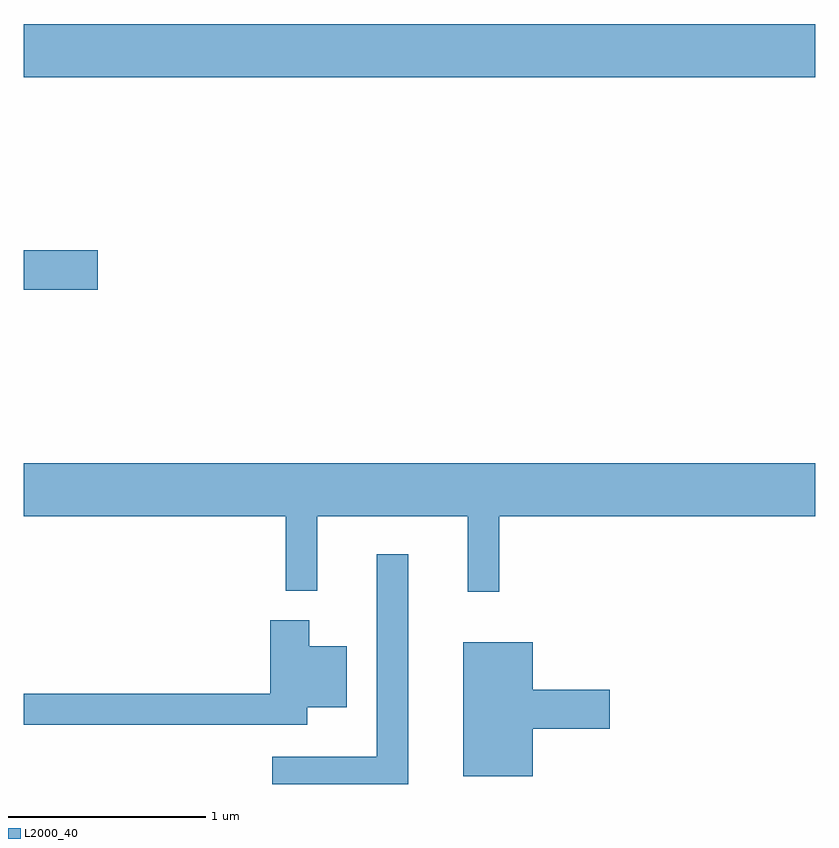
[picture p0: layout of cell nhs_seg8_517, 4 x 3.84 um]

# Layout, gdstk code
import gdstk
lib = gdstk.Library(unit=1e-6, precision=1e-09)
def R(c, l, rs):  # rectangles x0, y0, x1, y1
    for r in rs: c.add(gdstk.rectangle(r[:2], r[2:], *l))
def P(c, l, *ps):  # polygons
    for p in ps: c.add(gdstk.Polygon(p, *l))
L2000_40 = (2000, 40)

nhs_seg8_517 = lib.new_cell('nhs_seg8_517')
R(nhs_seg8_517, L2000_40, [(199.611,1890.841,199.984,1891.039), (199.611,1891.916,203.611,1892.184)])
P(nhs_seg8_517, L2000_40, [(202.014,1889.696),(203.611,1889.696),(203.611,1889.964),(199.611,1889.964),(199.611,1889.696),(200.936,1889.696),(200.936,1889.318),(201.094,1889.318),(201.094,1889.696),(201.856,1889.696),(201.856,1889.313),(202.014,1889.313)],
  [(201.554,1889.503),(201.396,1889.503),(201.396,1888.479),(200.866,1888.479),(200.866,1888.342),(201.554,1888.342)],
  [(201.044,1888.731),(201.244,1888.731),(201.244,1889.039),(201.054,1889.039),(201.054,1889.169),(200.856,1889.169),(200.856,1888.799),(199.611,1888.799),(199.611,1888.641),(201.044,1888.641)],
  [(202.184,1888.621),(202.574,1888.621),(202.574,1888.819),(202.184,1888.819),(202.184,1889.059),(201.831,1889.059),(201.831,1888.381),(202.184,1888.381)])

lib.write_gds('nhs_seg8_517.gds')
